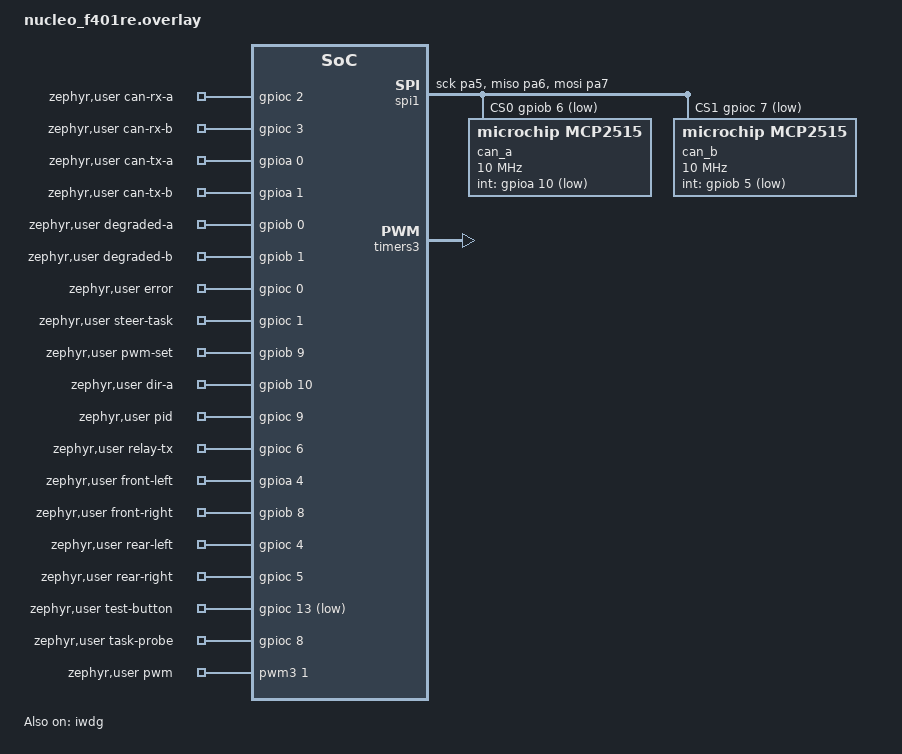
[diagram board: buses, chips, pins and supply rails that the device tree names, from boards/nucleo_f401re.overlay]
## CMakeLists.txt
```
cmake_minimum_required(VERSION 3.28.0)
find_package(Zephyr REQUIRED HINTS $ENV{ZEPHYR_BASE})
project(lab3_demo)
get_filename_component(team_root "${CMAKE_CURRENT_SOURCE_DIR}/../.." ABSOLUTE)
# Reuse the measured baseline's timing instrumentation and workloads, not copies.
set(baseline "${team_root}/lab3_wcet_baseline/lab3_wcet_baseline/stm32_zephyr/src")
target_sources(app PRIVATE src/main.c src/can_protocol.c src/frame_history.c
    src/zone_state.c src/timing_trace.c "${baseline}/timing_stats.c" "${baseline}/timing_probe.c")
target_include_directories(app PRIVATE src "${baseline}")
if(CONFIG_LAB3_ZONE_N3)
    # Lab 2 PID calculation on synthetic samples; no encoder or motor driver.
    set(lab2_pid "${team_root}/bringup/motor_test/src")
    target_sources(app PRIVATE "${baseline}/pid_measurement.c" "${lab2_pid}/velocity_control.c")
    target_include_directories(app PRIVATE "${lab2_pid}")
endif()
if(CONFIG_LAB3_ZONE_N2)
    # Lab 2 calibrated servo mapping from the tracked endpoints.
    set(calibration_file "${team_root}/config/servo_calibration.json")
    set_property(DIRECTORY APPEND PROPERTY CMAKE_CONFIGURE_DEPENDS "${calibration_file}")
    file(READ "${calibration_file}" calibration_json)
    foreach(point LEFT CENTER RIGHT)
        string(TOLOWER "${point}" key)
        string(JSON SERVO_${point}_US GET "${calibration_json}" "${key}_us")
        if(NOT "${SERVO_${point}_US}" MATCHES "^[0-9]+$" OR
           SERVO_${point}_US LESS 500 OR SERVO_${point}_US GREATER 2500)
            message(FATAL_ERROR "Invalid ${key} steering calibration")
        endif()
    endforeach()
    if(NOT ((SERVO_LEFT_US LESS SERVO_CENTER_US AND SERVO_CENTER_US LESS SERVO_RIGHT_US) OR
            (SERVO_LEFT_US GREATER SERVO_CENTER_US AND SERVO_CENTER_US GREATER SERVO_RIGHT_US)))
        message(FATAL_ERROR "Steering center must be between endpoints")
    endif()
    configure_file("${team_root}/stm32_zephyr/src/servo_calibration.h.in"
                   generated/servo_calibration.h @ONLY)
    target_sources(app PRIVATE "${baseline}/steering_measurement.c" "${team_root}/stm32_zephyr/src/servo_core.c")
    target_include_directories(app PRIVATE "${team_root}/stm32_zephyr/src"
                               "${CMAKE_CURRENT_BINARY_DIR}/generated")
endif()
```

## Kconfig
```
mainmenu "Lab 3 Part 5 dual-CAN demo"
source "Kconfig.zephyr"

config LAB3_ZONE_N2
    bool "Build front steering zone N2"
    help
      SRV servo PWM, front blinkers, FORCE_TX and the RELAY task.

config LAB3_ZONE_N3
    bool "Build rear drivetrain zone N3"
    help
      PWM_OUT motor PWM, DIR_A, PWM_SET, PID workload and rear blinkers.

config LAB3_RELAY
    bool
    default y if LAB3_ZONE_N2
    help
      N2 is the only relay. The reused baseline timing_probe.c offers the
      `relay` probe only when this is set.

config LAB3_SWAP_CAN_AB
    bool "Logical bus A uses the module on CS PC7 / INT PB5"
    help
      Set for a board whose module A (CS PB6 / INT PA10) is wired to the
      physical bus the other nodes call B. Test points, DEG LEDs and
      heartbeat health bits then follow the physical bus labels.
```

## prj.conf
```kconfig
CONFIG_CAN=y
CONFIG_CAN_INIT_PRIORITY=80
CONFIG_GPIO=y
CONFIG_PWM=y
CONFIG_SERIAL=y
CONFIG_CONSOLE=y
CONFIG_UART_CONSOLE=y
CONFIG_PRINTK=y
CONFIG_MAIN_STACK_SIZE=2048
CONFIG_SYSTEM_WORKQUEUE_STACK_SIZE=2048
CONFIG_SYS_CLOCK_TICKS_PER_SEC=1000
CONFIG_ASSERT=y
CONFIG_WATCHDOG=y
# Main installs the 1 s timeout; avoid the driver's separate boot-time timeout.
CONFIG_WDT_DISABLE_AT_BOOT=y
CONFIG_SPI=y
# Poll short MCP2515 transfers (measured faster than interrupt mode on Oct 21).
CONFIG_SPI_STM32_INTERRUPT=n
CONFIG_CAN_MCP2515=y
CONFIG_CAN_DEFAULT_BITRATE=500000
# One filter per catalog ID, for each controller.
CONFIG_CAN_MAX_FILTER=7
CONFIG_CAN_MCP2515_INT_THREAD_PRIO=2
CONFIG_SHELL=y
CONFIG_SHELL_STACK_SIZE=2048
CONFIG_THREAD_NAME=y
# Crash reports: register dump plus a logged coredump on the serial console.
CONFIG_FAULT_DUMP=2
CONFIG_DEBUG_COREDUMP=y
CONFIG_DEBUG_COREDUMP_BACKEND_LOGGING=y
CONFIG_DEBUG_COREDUMP_MEMORY_DUMP_MIN=y
CONFIG_LOG_PRINTK=n
```

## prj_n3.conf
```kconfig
CONFIG_LAB3_ZONE_N3=y
# Lab 2 floating-point PID workload; preserve FP state across threads.
CONFIG_FPU=y
CONFIG_FPU_SHARING=y
```

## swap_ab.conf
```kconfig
# Add to the build of a board whose CAN modules are cross-wired; see README.
CONFIG_LAB3_SWAP_CAN_AB=y
```

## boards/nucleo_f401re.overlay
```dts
/* Lab 3 Part 5 demo, shared by N2 and N3. Pin record: doc/LAB3_PINOUT.md.
 * CAN modules: SPI1 PA5/PA6/PA7 (XIAO D8 SCK, D9 MISO, D10 MOSI per the
 * handout erratum); module A CS PB6 / INT PA10, module B CS PC7 / INT PB5.
 * CONFIG_LAB3_SWAP_CAN_AB maps logical bus A to module B for a board whose
 * modules are wired to the opposite physical buses.
 */
#include <zephyr/dt-bindings/gpio/gpio.h>
#include <zephyr/dt-bindings/pwm/pwm.h>

/ {
    aliases { can-a = &can_a; can-b = &can_b; };
    zephyr,user {
        can-rx-a-gpios = <&gpioc 2 GPIO_ACTIVE_HIGH>;
        can-rx-b-gpios = <&gpioc 3 GPIO_ACTIVE_HIGH>;
        can-tx-a-gpios = <&gpioa 0 GPIO_ACTIVE_HIGH>;
        can-tx-b-gpios = <&gpioa 1 GPIO_ACTIVE_HIGH>;
        degraded-a-gpios = <&gpiob 0 GPIO_ACTIVE_HIGH>;
        degraded-b-gpios = <&gpiob 1 GPIO_ACTIVE_HIGH>;
        error-gpios = <&gpioc 0 GPIO_ACTIVE_HIGH>;
        /* STEER task-body marker; the SRV test point is the PB4 PWM below. */
        steer-task-gpios = <&gpioc 1 GPIO_ACTIVE_HIGH>;
        pwm-set-gpios = <&gpiob 9 GPIO_ACTIVE_HIGH>;
        dir-a-gpios = <&gpiob 10 GPIO_ACTIVE_HIGH>;
        /* PB11 does not exist on the LQFP64 package (pin 30 is VCAP1). */
        pid-gpios = <&gpioc 9 GPIO_ACTIVE_HIGH>;
        relay-tx-gpios = <&gpioc 6 GPIO_ACTIVE_HIGH>;
        front-left-gpios = <&gpioa 4 GPIO_ACTIVE_HIGH>;
        front-right-gpios = <&gpiob 8 GPIO_ACTIVE_HIGH>;
        rear-left-gpios = <&gpioc 4 GPIO_ACTIVE_HIGH>;
        rear-right-gpios = <&gpioc 5 GPIO_ACTIVE_HIGH>;
        test-button-gpios = <&gpioc 13 GPIO_ACTIVE_LOW>; /* built-in blue B1 */
        task-probe-gpios = <&gpioc 8 GPIO_ACTIVE_HIGH>;
        /* PB4/D5 TIM3_CH1: SRV servo pulse on N2, PWM_OUT motor PWM on N3.
         * Each zone passes its own period at run time. */
        pwms = <&pwm3 1 PWM_MSEC(20) PWM_POLARITY_NORMAL>;
    };
};

&spi1 {
    status = "okay";
    pinctrl-0 = <&spi1_sck_pa5 &spi1_miso_pa6 &spi1_mosi_pa7>;
    pinctrl-names = "default";
    cs-gpios = <&gpiob 6 (GPIO_ACTIVE_LOW | GPIO_PULL_UP)>,
               <&gpioc 7 (GPIO_ACTIVE_LOW | GPIO_PULL_UP)>;
    can_a: mcp2515@0 {
        compatible = "microchip,mcp2515";
        reg = <0>;
        spi-max-frequency = <10000000>; /* MCP2515 max; SPI1 runs 84 MHz/16 = 5.25 MHz */
        int-gpios = <&gpioa 10 GPIO_ACTIVE_LOW>;
        osc-freq = <16000000>;
        status = "okay";
    };
    can_b: mcp2515@1 {
        compatible = "microchip,mcp2515";
        reg = <1>;
        spi-max-frequency = <10000000>;
        int-gpios = <&gpiob 5 GPIO_ACTIVE_LOW>;
        osc-freq = <16000000>;
        status = "okay";
    };
};

/* 84 MHz / (83 + 1) = 1 us ticks: 20000 per servo period, 100 per 10 kHz motor period. */
&timers3 {
    status = "okay";
    st,prescaler = <83>;
    pwm3: pwm {
        status = "okay";
        pinctrl-0 = <&tim3_ch1_pb4>;
        pinctrl-names = "default";
    };
};

/* Board defaults that claim Lab 3 pins: USART1 PB6 (CAN A CS), I2C1 PB8/PB9
 * (FR LED, PWM_SET), I2C3 PA8/PC9 (PID marker), TIM2 PWM PA5 (SPI SCK). */
&usart1 { status = "disabled"; };
&i2c1 { status = "disabled"; };
&i2c3 { status = "disabled"; };
&timers2 { status = "disabled"; };

&iwdg { status = "okay"; };
```

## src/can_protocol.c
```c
/* Lab 3 CAN payload serialization and CRC-8/ATM. Do not send C structs directly. */
#include "can_protocol.h"
#include <string.h>

uint8_t lab3_crc8(const uint8_t *data, unsigned length)
{
    uint8_t crc = 0;
    for (unsigned i = 0; i < length; ++i) {
        crc ^= data[i];
        for (unsigned bit = 0; bit < 8; ++bit)
            crc = (crc & 0x80U) ? (uint8_t)((crc << 1) ^ 0x07U) : (uint8_t)(crc << 1);
    }
    return crc;
}

bool lab3_frame_valid(const struct can_frame *frame)
{
    return frame && !(frame->flags & (CAN_FRAME_IDE | CAN_FRAME_RTR | CAN_FRAME_FDF)) &&
        frame->dlc == 8 && lab3_crc8(frame->data, 7) == frame->data[7];
}

void lab3_seal(struct can_frame *frame)
{
    frame->dlc = 8;
    frame->data[7] = lab3_crc8(frame->data, 7);
}

static void start(struct can_frame *f, uint32_t id)
{
    memset(f, 0, sizeof(*f));
    f->id = id;
    f->dlc = 8;
}

void lab3_pack_heartbeat(struct can_frame *f, uint32_t id, uint8_t state, bool a, bool b)
{
    start(f, id);
    f->data[1] = state;
    f->data[2] = (a ? 1 : 0) | (b ? 2 : 0);
}

void lab3_pack_fault(struct can_frame *f, uint8_t failing_zone, enum fault_reason reason, uint8_t reporter)
{
    start(f, ID_FAULT);
    f->data[1] = failing_zone;
    f->data[2] = (uint8_t)reason;
    f->data[3] = reporter;
}

void lab3_pack_force(struct can_frame *f, int8_t counter)
{
    start(f, ID_FORCE);
    f->data[1] = (uint8_t)counter;
}

bool lab3_ctrl_decode(const struct can_frame *f, struct lab3_ctrl *out)
{
    /* b0 seq/flags, b1..2 steer LE, b3 throttle %, b4 brake %, b5 buttons, b6 reserved. */
    if ((f->data[0] >> 4) != CTRL_FLAGS || f->data[6] != 0 || f->data[3] > 100 || f->data[4] > 100)
        return false;
    out->steer = (int16_t)(f->data[1] | (f->data[2] << 8));
    out->throttle = f->data[3];
    out->brake = f->data[4];
    out->buttons = f->data[5];
    return true;
}

uint8_t lab3_heartbeat_zone(uint32_t id)
{
    switch (id) {
    case ID_HB_N1: return ZONE_N1;
    case ID_HB_N2: return ZONE_N2;
    case ID_HB_N3: return ZONE_N3;
    default: return 0;
    }
}

uint8_t lab3_frame_origin(const struct can_frame *f)
{
    switch (f->id) {
    case ID_CTRL: case ID_BLINK: case ID_HB_N1: return ZONE_N1;
    case ID_HB_N2: case ID_FORCE: return ZONE_N2;
    case ID_HB_N3: return ZONE_N3;
    case ID_FAULT: return f->data[3] >= ZONE_N1 && f->data[3] <= ZONE_N3 ? f->data[3] : 0;
    default: return 0;
    }
}

uint8_t lab3_dedup_source(const struct can_frame *f)
{
    return f->id == ID_FAULT ? f->data[3] : 0;
}
```

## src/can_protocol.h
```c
#ifndef LAB3_DEMO_CAN_PROTOCOL_H
#define LAB3_DEMO_CAN_PROTOCOL_H
/* Lab 3 template catalog wire format; pi/can_protocol.py is the other half.
 * Standard IDs, DLC 8. Byte 0: low nibble per-ID sequence, high nibble flags.
 * Byte 7: CRC-8/ATM (poly 0x07, init 0) over bytes 0..6. */
#include <stdbool.h>
#include <stdint.h>
#include <zephyr/drivers/can.h>

#define ID_CTRL  0x010
#define ID_FAULT 0x020
#define ID_HB_N1 0x100
#define ID_HB_N2 0x101
#define ID_HB_N3 0x102
#define ID_BLINK 0x200
#define ID_FORCE 0x300
#define ZONE_N1 1
#define ZONE_N2 2
#define ZONE_N3 3
#define STATE_ERROR 0
#define STATE_OK 1
#define BLINK_OFF 0
#define BLINK_LEFT 1
#define BLINK_RIGHT 2
#define BLINK_HAZARD 3
#define CTRL_FLAGS 1 /* required high nibble of CTRL byte 0 */

/* FAULT byte 2. Clear releases every latch; ZONE_LOST is informational because
 * each receiver detects heartbeat loss itself and must recover without a clear. */
enum fault_reason {
    FAULT_CLEAR = 0,
    FAULT_TEST_BUTTON = 1,
    FAULT_BAD_CRC = 2,
    FAULT_BAD_CTRL = 3,
    FAULT_ZONE_LOST = 4,
};

/* Team-defined CTRL value ranges: steering is any int16; pedals are 0..100 %. */
struct lab3_ctrl { int16_t steer; uint8_t throttle, brake, buttons; };

uint8_t lab3_crc8(const uint8_t *data, unsigned length);
/* Standard data frame, DLC 8 and matching CRC. */
bool lab3_frame_valid(const struct can_frame *frame);
void lab3_seal(struct can_frame *frame);
/* Builders leave the sequence nibble zero; the send helper assigns it and seals. */
void lab3_pack_heartbeat(struct can_frame *frame, uint32_t id, uint8_t state, bool bus_a_ok, bool bus_b_ok);
/* FAULT bytes 1..3: failing zone, reason, reporting zone. */
void lab3_pack_fault(struct can_frame *frame, uint8_t failing_zone, enum fault_reason reason, uint8_t reporter);
void lab3_pack_force(struct can_frame *frame, int8_t counter);
/* Decodes a CRC-valid CTRL; false when any field is outside the values table. */
bool lab3_ctrl_decode(const struct can_frame *frame, struct lab3_ctrl *out);
/* Zone whose heartbeat this ID is, or 0. */
uint8_t lab3_heartbeat_zone(uint32_t id);
/* Zone that originated this frame (FAULT: reporter), or 0 when unknown. */
uint8_t lab3_frame_origin(const struct can_frame *frame);
/* FAULT has several senders with independent sequence counters. */
uint8_t lab3_dedup_source(const struct can_frame *frame);
#endif
```

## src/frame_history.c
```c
#include "frame_history.h"

static bool same(struct frame_key a, struct frame_key b)
{
    return a.id == b.id && a.source == b.source && a.seq == b.seq;
}
static bool live(const struct frame_record *r, uint32_t now)
{
    return r->valid && (uint32_t)(now - r->first_ms) <= FRAME_HISTORY_MS;
}
enum frame_observation frame_observe(struct frame_history *h,
    struct frame_key key, unsigned bus, uint32_t received_ms)
{
    struct frame_record *free_slot = 0;
    if (bus > 1) return FRAME_HISTORY_FULL;
    for (unsigned i = 0; i < FRAME_HISTORY_SIZE; ++i) {
        struct frame_record *r = &h->records[i];
        if (!live(r, received_ms)) {
            if (!free_slot) free_slot = r;
        } else if (same(r->key, key)) {
            r->seen_buses |= (uint8_t)(1U << bus);
            /* Do not extend expiry on a duplicate: repeats cannot keep a key
             * alive forever and suppress a new sequence generation. */
            return FRAME_DUPLICATE;
        }
    }
    /* Never evict live history to make room: that could re-admit a duplicate. */
    if (!free_slot) return FRAME_HISTORY_FULL;
    *free_slot = (struct frame_record){.key=key, .first_ms=received_ms,
        .seen_buses=(uint8_t)(1U << bus), .valid=true};
    return FRAME_NEW;
}
enum relay_claim frame_claim_relay(struct frame_history *h,
    struct frame_key key, unsigned incoming_bus, uint32_t first_ms, uint32_t now_ms)
{
    if (incoming_bus > 1) return RELAY_STALE;
    const uint8_t destination = (uint8_t)(1U << (incoming_bus ^ 1U));
    for (unsigned i = 0; i < FRAME_HISTORY_SIZE; ++i) {
        struct frame_record *r = &h->records[i];
        if (!live(r, now_ms) || !same(r->key, key) || r->first_ms != first_ms) continue;
        if ((r->seen_buses | r->attempted_buses) & destination) return RELAY_SUPPRESS;
        r->attempted_buses |= destination;
        return RELAY_SEND;
    }
    /* Do not forward an expired queue entry using a newer generation's record. */
    return RELAY_STALE;
}
```

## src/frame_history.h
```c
#ifndef LAB3_FRAME_HISTORY_H
#define LAB3_FRAME_HISTORY_H
#include <stdbool.h>
#include <stdint.h>

/* Ported from Tianyi's lab3-relay-immediate branch (commit a146752).
 *
 * Duplicate lifetime, NOT a wait before forwarding. It must exceed the worst
 * skew between the A copy, the B copy and a relayed copy (the measured Pi gap
 * between its can0 and can1 writes reaches 2.6 ms) and stay below the 320 ms
 * reuse time of a 4-bit sequence at 20 ms. Every catalog payload is idempotent,
 * so a copy that arrives after expiry is re-applied harmlessly.
 */
#define FRAME_HISTORY_MS 20U
#define FRAME_HISTORY_SIZE 32U
struct frame_key { uint16_t id; uint8_t source, seq; };
struct frame_record {
    struct frame_key key;
    uint32_t first_ms;
    uint8_t seen_buses, attempted_buses;
    bool valid;
};
struct frame_history { struct frame_record records[FRAME_HISTORY_SIZE]; };
enum frame_observation { FRAME_NEW, FRAME_DUPLICATE, FRAME_HISTORY_FULL };
enum relay_claim { RELAY_SEND, RELAY_SUPPRESS, RELAY_STALE };

/* Caller serializes all access. Only validated catalog frames may enter.
 * A same-bus repeat inside the lifetime is a relayed copy and is dropped; after
 * the lifetime the same (ID, seq) is a new message. */
enum frame_observation frame_observe(struct frame_history *h,
    struct frame_key key, unsigned bus, uint32_t received_ms);
/* Claim at most one attempt on the opposite bus. No heartbeat state is used.
 * first_ms is the original receive timestamp carried with the queued frame.
 * A known opposite-bus copy suppresses the send. */
enum relay_claim frame_claim_relay(struct frame_history *h,
    struct frame_key key, unsigned incoming_bus, uint32_t first_ms, uint32_t now_ms);
#endif
```

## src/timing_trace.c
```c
/* GPIO LEDs and test points; every pin starts inactive (low). */
#include "timing_trace.h"
#include <zephyr/drivers/gpio.h>
#include <zephyr/devicetree.h>
#include <zephyr/sys/atomic.h>
#include <zephyr/sys/util.h>
#include <errno.h>

#define USER DT_PATH(zephyr_user)
static const struct gpio_dt_spec pins[] = {
    [TP_CAN_RX_A] = GPIO_DT_SPEC_GET(USER, can_rx_a_gpios),
    [TP_CAN_RX_B] = GPIO_DT_SPEC_GET(USER, can_rx_b_gpios),
    [TP_CAN_TX_A] = GPIO_DT_SPEC_GET(USER, can_tx_a_gpios),
    [TP_CAN_TX_B] = GPIO_DT_SPEC_GET(USER, can_tx_b_gpios),
    [TP_DEG_A] = GPIO_DT_SPEC_GET(USER, degraded_a_gpios),
    [TP_DEG_B] = GPIO_DT_SPEC_GET(USER, degraded_b_gpios),
    [TP_ERR] = GPIO_DT_SPEC_GET(USER, error_gpios),
    [TP_STEER] = GPIO_DT_SPEC_GET(USER, steer_task_gpios),
    [TP_PWM_SET] = GPIO_DT_SPEC_GET(USER, pwm_set_gpios),
    [TP_DIR_A] = GPIO_DT_SPEC_GET(USER, dir_a_gpios),
    [TP_PID] = GPIO_DT_SPEC_GET(USER, pid_gpios),
    [TP_FL] = GPIO_DT_SPEC_GET(USER, front_left_gpios),
    [TP_FR] = GPIO_DT_SPEC_GET(USER, front_right_gpios),
    [TP_RL] = GPIO_DT_SPEC_GET(USER, rear_left_gpios),
    [TP_RR] = GPIO_DT_SPEC_GET(USER, rear_right_gpios),
    [TP_RELAY_TX] = GPIO_DT_SPEC_GET(USER, relay_tx_gpios),
    [TP_TASK_PROBE] = GPIO_DT_SPEC_GET(USER, task_probe_gpios),
};
/* Toggles come from several threads; one atomic bit per pin keeps levels consistent. */
static atomic_t levels;

int lab3_trace_init(void)
{
    for (unsigned i = 0; i < ARRAY_SIZE(pins); ++i) {
        if (!gpio_is_ready_dt(&pins[i])) return -ENODEV;
        int rc = gpio_pin_configure_dt(&pins[i], GPIO_OUTPUT_INACTIVE);
        if (rc) return rc;
    }
    return 0;
}

void lab3_trace_toggle(unsigned i)
{
    if (i >= ARRAY_SIZE(pins)) return;
    bool was = (atomic_xor(&levels, BIT(i)) & BIT(i)) != 0;
    (void)gpio_pin_set_dt(&pins[i], !was);
}

void lab3_trace_set(unsigned i, int active)
{
    if (i >= ARRAY_SIZE(pins)) return;
    atomic_set_bit_to(&levels, i, active);
    (void)gpio_pin_set_dt(&pins[i], !!active);
}
```

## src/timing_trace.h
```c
#ifndef LAB3_TIMING_TRACE_H
#define LAB3_TIMING_TRACE_H
#include <stdint.h>
/* Same API and index layout as the baseline's timing_trace.h, because the reused
 * baseline timing_probe.c drives index 16. Pins: boards/nucleo_f401re.overlay. */
enum lab3_test_point {
    TP_CAN_RX_A, TP_CAN_RX_B, TP_CAN_TX_A, TP_CAN_TX_B, TP_DEG_A, TP_DEG_B,
    TP_ERR, TP_STEER, TP_PWM_SET, TP_DIR_A, TP_PID, TP_FL, TP_FR, TP_RL, TP_RR,
    TP_RELAY_TX, TP_TASK_PROBE,
};
int lab3_trace_init(void);
void lab3_trace_toggle(unsigned index);
void lab3_trace_set(unsigned index, int active);
#endif
```

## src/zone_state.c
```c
#include "zone_state.h"
#include <string.h>

void zone_monitor_init(struct zone_monitor *m, uint8_t self, uint32_t now_ms)
{
    memset(m, 0, sizeof(*m));
    m->self = self;
    m->traffic_ms[0] = m->traffic_ms[1] = now_ms;
}

void zone_monitor_heartbeat(struct zone_monitor *m, uint8_t zone, unsigned bus, uint32_t now_ms)
{
    if (zone == 0 || zone >= ZONE_SLOTS || zone == m->self || bus > 1) return;
    m->hb_seen[zone][bus] = true;
    m->hb_ms[zone][bus] = now_ms;
}

void zone_monitor_traffic(struct zone_monitor *m, unsigned bus, uint32_t now_ms)
{
    if (bus <= 1) m->traffic_ms[bus] = now_ms;
}

void zone_monitor_ctrl(struct zone_monitor *m)
{
    m->ctrl_seen = true;
}

static bool fresh(bool seen, uint32_t stamp, uint32_t now, uint32_t limit)
{
    return seen && (uint32_t)(now - stamp) < limit;
}

bool zone_monitor_present(const struct zone_monitor *m, uint8_t zone, unsigned bus, uint32_t now_ms)
{
    if (zone == 0 || zone >= ZONE_SLOTS || zone == m->self || bus > 1) return false;
    return fresh(m->hb_seen[zone][bus], m->hb_ms[zone][bus], now_ms, BUS_SILENT_MS);
}

struct zone_health zone_monitor_evaluate(const struct zone_monitor *m, uint32_t now)
{
    struct zone_health h = {0};
    bool all_alive = true, heard = false;
    for (uint8_t zone = 1; zone < ZONE_SLOTS; ++zone) {
        if (zone == m->self) continue;
        for (unsigned bus = 0; bus < 2; ++bus) {
            h.alive[zone] |= fresh(m->hb_seen[zone][bus], m->hb_ms[zone][bus], now, ZONE_FAIL_MS);
            heard |= fresh(m->hb_seen[zone][bus], m->hb_ms[zone][bus], now, BUS_SILENT_MS);
        }
        all_alive &= h.alive[zone];
    }
    for (unsigned bus = 0; bus < 2; ++bus) h.bus_ok[bus] = fresh(true, m->traffic_ms[bus], now, BUS_SILENT_MS);
    for (unsigned bus = 0; bus < 2; ++bus) h.degraded[bus] = !h.bus_ok[bus] && h.bus_ok[bus ^ 1U];
    h.isolated = !heard;
    h.error = m->latched || !all_alive || h.isolated || !m->ctrl_seen;
    return h;
}

uint32_t zone_monitor_next_change_ms(const struct zone_monitor *m, uint32_t now)
{
    uint32_t next = UINT32_MAX;
    for (unsigned bus = 0; bus < 2; ++bus) {
        uint32_t age = now - m->traffic_ms[bus];
        if (age < BUS_SILENT_MS && BUS_SILENT_MS - age < next) next = BUS_SILENT_MS - age;
    }
    return next;
}
```

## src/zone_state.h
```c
#ifndef LAB3_ZONE_STATE_H
#define LAB3_ZONE_STATE_H
#include <stdbool.h>
#include <stdint.h>

/* Every supervision threshold lives here; pi/zone_state.py mirrors them.
 * R4.5: heartbeat every 20 ms (+/-10 %); a zone fails only after three
 * consecutive missed heartbeats on both buses, 3 x 22 ms = 66 ms at the period
 * limit (the clarification's error chain uses the same 66 ms).
 * R4.7: a bus is degraded after three heartbeat periods (60 ms) without traffic
 * from any other node while the other bus still has traffic; a zone that hears
 * no heartbeat from any other zone on either bus for 60 ms is isolated. */
#define HB_PERIOD_MS 20U
#define ZONE_FAIL_MS 66U
#define BUS_SILENT_MS 60U
/* BLINK arrives at least every 500 ms; older than this, N1 is unreachable. */
#define BLINK_TIMEOUT_MS 750U
#define ZONE_SLOTS 4U /* indexed by zone id 1..3 */

/* Owned by one lock holder per node. Times are wrapping uptime milliseconds. */
struct zone_monitor {
    uint8_t self;
    bool hb_seen[ZONE_SLOTS][2];
    uint32_t hb_ms[ZONE_SLOTS][2];
    uint32_t traffic_ms[2]; /* last frame from any other node; boot time until then */
    bool ctrl_seen;         /* R3: one valid CTRL is needed to leave power-up error */
    /* Test button, bad CTRL or a received FAULT; only a FAULT clear releases it. */
    bool latched;
};

struct zone_health {
    bool alive[ZONE_SLOTS]; /* peer heartbeat within ZONE_FAIL_MS on some bus */
    bool bus_ok[2];         /* traffic within BUS_SILENT_MS; heartbeat health bits */
    bool degraded[2];       /* R4.7 per-bus status LED */
    bool isolated;          /* R4.7: own fail-safe (motor braked, steering held, hazards) */
    bool error;
};

void zone_monitor_init(struct zone_monitor *m, uint8_t self, uint32_t now_ms);
/* Record per bus BEFORE duplicate filtering, or the second bus looks silent. */
void zone_monitor_heartbeat(struct zone_monitor *m, uint8_t zone, unsigned bus, uint32_t now_ms);
/* Any frame received from another node on this bus, valid or not. */
void zone_monitor_traffic(struct zone_monitor *m, unsigned bus, uint32_t now_ms);
/* A valid in-range CTRL arrived. */
void zone_monitor_ctrl(struct zone_monitor *m);
/* Relay gate: true while `zone`'s heartbeat on `bus` is under BUS_SILENT_MS old.
 * N2 forwards only frames whose origin is absent from the destination bus. */
bool zone_monitor_present(const struct zone_monitor *m, uint8_t zone, unsigned bus, uint32_t now_ms);
/* Lab 1 R3 error state: power-up in error; out once both peers are alive on
 * some bus and a valid CTRL has arrived; in on a latch, a failed peer or isolation. */
struct zone_health zone_monitor_evaluate(const struct zone_monitor *m, uint32_t now_ms);
/* Milliseconds until a bus with traffic reaches BUS_SILENT_MS, or UINT32_MAX.
 * Dispatch waits on it so DEG_x lights at exactly 60 ms, not on the next HB_MON. */
uint32_t zone_monitor_next_change_ms(const struct zone_monitor *m, uint32_t now_ms);
#endif
```
